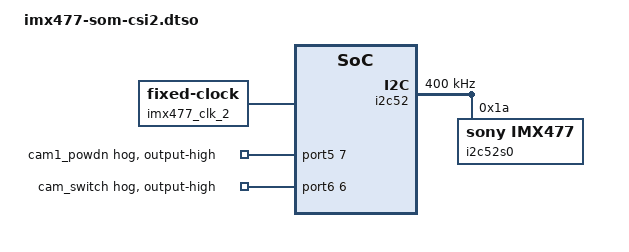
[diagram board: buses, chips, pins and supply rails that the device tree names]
// SPDX-License-Identifier: (GPL-2.0+ OR MIT)
/*
 * Copyright (c) 2025 SiMa ai
 */

/dts-v1/;
/plugin/;

/ {
    fragment@10 {
        target-path = "/"; /* Root node of the base tree */
        __overlay__ {
            imx477_clk_2: csi2_camera-clk {
                compatible = "fixed-clock";
                #clock-cells = <0>;
                clock-frequency = <24000000>;
            };
        };
    };
};

&port5 {
       cam-hog1 {
               gpio-hog;
               /* Set port5 gpio7 to GPIO_ACTIVE_HIGH mode */
               gpios = <7 0>;
               output-high;
               line-name = "cam1_powdn";
       };
};

&port6 {
       cam-tog {
               gpio-hog;
               /* Set port6 gpio6 to GPIO_ACTIVE_HIGH mode */
               gpios = <6 0>;
               output-high;
               line-name = "cam_switch";
       };
};

&i2c52 {
	status = "okay";
	clock-frequency = <400000>;
	#address-cells = <1>;
	#size-cells = <0>;

        i2c52s0: sensor@1a {
            compatible = "sony,imx477";
            reg = <0x1a>;
            clocks = <&imx477_clk_2>;
            clock-names = "xclk";
        };
};
